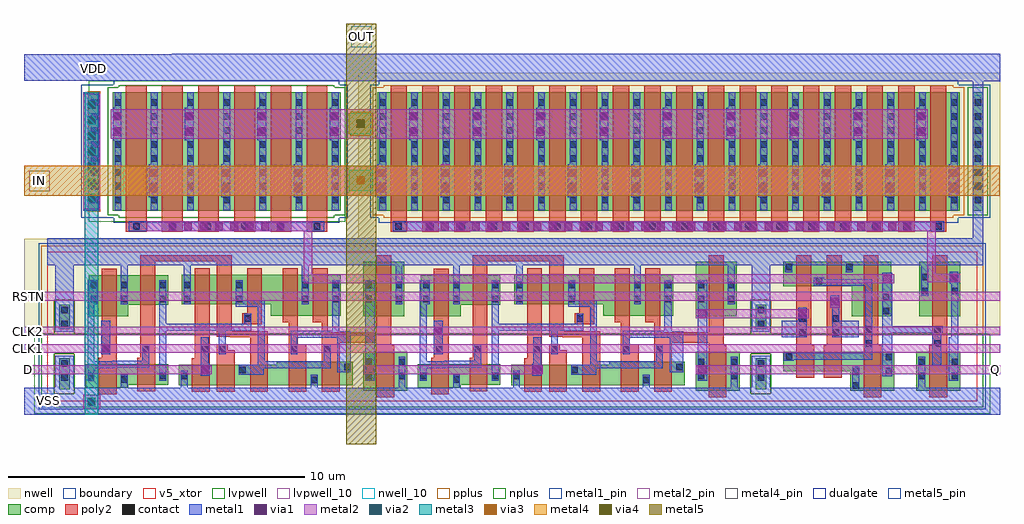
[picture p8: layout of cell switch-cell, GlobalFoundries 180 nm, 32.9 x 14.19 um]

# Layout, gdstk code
from math import pi, radians
import gdstk
lib = gdstk.Library(unit=1e-6, precision=1e-09)
def R(c, l, rs):  # rectangles x0, y0, x1, y1
    for r in rs: c.add(gdstk.rectangle(r[:2], r[2:], *l))
def A(c, l, x, y, w, h, nx, ny, dx, dy):  # array of equal rectangles
    R(c, l, [(x+i*dx, y+j*dy, x+i*dx+w, y+j*dy+h) for i in range(nx) for j in range(ny)])
def P(c, l, *ps):  # polygons
    for p in ps: c.add(gdstk.Polygon(p, *l))
boundary = (0, 0)
nwell = (21, 0)
nwell_10 = (21, 10)
comp = (22, 0)
poly2 = (30, 0)
pplus = (31, 0)
nplus = (32, 0)
contact = (33, 0)
metal1 = (34, 0)
metal1_pin = (34, 10)
via1 = (35, 0)
metal2 = (36, 0)
metal2_pin = (36, 10)
via2 = (38, 0)
via3 = (40, 0)
via4 = (41, 0)
metal3 = (42, 0)
metal4 = (46, 0)
metal4_pin = (46, 10)
dualgate = (55, 0)
metal5 = (81, 0)
metal5_pin = (81, 10)
v5_xtor = (112, 1)
lvpwell = (204, 0)
lvpwell_10 = (204, 10)

pfet_06v0_ljss4l = lib.new_cell('pfet_06v0_LJSS4L')
R(pfet_06v0_ljss4l, nwell, [(-10.24,-2.65,10.24,2.65)])
R(pfet_06v0_ljss4l, comp, [(-9.81,-2,9.81,2)])
A(pfet_06v0_ljss4l, poly2, -9.37, -2.22, 0.55, 4.44, 18, 1, 1.07, 0)
R(pfet_06v0_ljss4l, pplus, [(-9.6,-2.23,9.6,-2.16), (-9.97,-2.16,9.97,2.16), (-9.6,2.16,9.6,2.23)])
A(pfet_06v0_ljss4l, contact, -9.74, -1.755, 0.22, 0.22, 19, 8, 1.07, 0.47)
A(pfet_06v0_ljss4l, metal1, -9.745, -1.99, 0.23, 3.98, 19, 1, 1.07, 0)
R(pfet_06v0_ljss4l, dualgate, [(-9.77,-2.4,9.77,-2.24), (-10.05,-2.24,10.05,2.24), (-9.77,2.24,9.77,2.4)])

nfet_06v0_42fnxl = lib.new_cell('nfet_06v0_42FNXL')
R(nfet_06v0_42fnxl, comp, [(-3.84,-2,3.84,2)])
A(nfet_06v0_42fnxl, poly2, -3.4, -2.22, 0.7, 4.44, 6, 1, 1.22, 0)
R(nfet_06v0_42fnxl, nplus, [(-3.63,-2.23,3.63,-2.16), (-4,-2.16,4,2.16), (-3.63,2.16,3.63,2.23)])
A(nfet_06v0_42fnxl, contact, -3.77, -1.755, 0.22, 0.22, 7, 8, 1.22, 0.47)
A(nfet_06v0_42fnxl, metal1, -3.775, -1.99, 0.23, 3.98, 7, 1, 1.22, 0)
R(nfet_06v0_42fnxl, dualgate, [(-3.8,-2.4,3.8,-2.24), (-4.08,-2.24,4.08,2.24), (-3.8,2.24,3.8,2.4)])
R(nfet_06v0_42fnxl, lvpwell, [(-4,-2.38,4,2.38)])

trans_gate = lib.new_cell('trans-gate')
A(trans_gate, nwell, -4.655, 14.71, 0.55, 0.29, 13, 1, 1.07, 0)
R(trans_gate, nwell, [(-7.2,9.7,-6.595,15), (8.8,9.7,14.1,15)])
R(trans_gate, nwell_10, [(-6.905,10.46,-6.675,10.69)])
R(trans_gate, comp, [(-6.965,10.35,-6.605,14.35), (22.835,10.35,23.195,14.35)])
A(trans_gate, poly2, 16.36, 14.35, 0.7, 0.71, 4, 1, 1.22, 0)
A(trans_gate, poly2, -5.725, 14.57, 0.55, 0.49, 18, 1, 1.07, 0)
R(trans_gate, poly2, [(15.14,14.57,15.84,15.06), (21.24,14.57,21.94,15.06)])
R(trans_gate, pplus, [(22.805,10.32,23.225,14.38)])
R(trans_gate, nplus, [(-7.125,10.19,-6.445,14.51)])
A(trans_gate, contact, -6.895, 10.595, 0.22, 0.22, 1, 8, 0, 0.47)
A(trans_gate, contact, 22.905, 10.595, 0.22, 0.22, 1, 8, 0, 0.47)
A(trans_gate, contact, -5.56, 14.77, 0.22, 0.22, 18, 1, 1.07, 0)
A(trans_gate, contact, 15.39, 14.77, 0.22, 0.22, 5, 1, 1.22, 0)
R(trans_gate, contact, [(21.47,14.77,21.69,14.99)])
A(trans_gate, metal1, -5.03, 10.875, 0.3, 1.1, 9, 1, 2.14, 0)
A(trans_gate, metal1, 14.765, 10.875, 0.3, 1.1, 4, 1, 2.44, 0)
A(trans_gate, metal1, -6.1, 12.78, 0.3, 1.11, 7, 1, 2.14, 0)
A(trans_gate, metal1, 15.985, 12.78, 0.3, 1.11, 3, 1, 2.44, 0)
A(trans_gate, metal1, -5.03, 13.83, 0.23, 0.06, 8, 1, 2.14, 0)
R(trans_gate, metal1, [(-6.965,10.35,-6.605,14.35), (22.835,10.35,23.195,14.35), (8.88,12.77,9.18,13.89), (11.02,12.78,11.32,13.89), (13.16,12.78,13.46,13.89), (-5.655,14.71,12.945,15.05), (15.245,14.71,21.835,15.05)])
A(trans_gate, via1, -5.01, 11.035, 0.26, 0.26, 9, 2, 2.14, 0.52)
A(trans_gate, via1, 14.785, 11.035, 0.26, 0.26, 4, 2, 2.44, 0.52)
A(trans_gate, via1, -6.08, 12.945, 0.26, 0.26, 10, 2, 2.14, 0.52)
A(trans_gate, via1, 16.005, 12.945, 0.26, 0.26, 3, 2, 2.44, 0.52)
A(trans_gate, via1, -4.545, 14.75, 0.26, 0.26, 32, 1, 0.52, 0)
A(trans_gate, via1, 16.59, 14.75, 0.26, 0.26, 8, 1, 0.52, 0)
R(trans_gate, metal2, [(-5.09,10.925,22.445,11.925), (11.02,12.78,11.32,12.83), (-6.16,12.83,21.225,13.84), (-5.175,14.71,12.465,15.05), (15.84,14.71,21.24,15.05)])
R(trans_gate, metal2_pin, [(7.57,11.06,7.8,11.29), (7.69,13.435,7.92,13.665), (-0.22,14.765,0.01,14.995), (17.33,14.765,17.56,14.995)])
R(trans_gate, dualgate, [(-7.205,10.11,-6.365,14.59), (22.595,10.11,23.435,14.59)])
A(trans_gate, lvpwell, 16.36, 14.71, 0.7, 0.02, 5, 1, 1.22, 0)
R(trans_gate, lvpwell, [(22.54,9.97,23.195,14.73)])
R(trans_gate, lvpwell_10, [(22.88,10.445,23.11,10.675)])
trans_gate.add(gdstk.Reference(pfet_06v0_ljss4l, (3.645,12.35)))
trans_gate.add(gdstk.Reference(nfet_06v0_42fnxl, (18.54,12.35)))
trans_gate.add(gdstk.Label('SWP', (-0.105,14.88), layer=34, texttype=10))
trans_gate.add(gdstk.Label('VDD', (-6.79,10.575), layer=21, texttype=10))
trans_gate.add(gdstk.Label('VSS', (22.995,10.56), layer=204, texttype=10))
trans_gate.add(gdstk.Label('IN', (7.805,13.55), layer=36, texttype=10))
trans_gate.add(gdstk.Label('OUT', (7.685,11.175), layer=36, texttype=10))
trans_gate.add(gdstk.Label('SWN', (17.445,14.88), layer=36, texttype=10))

gf180mcu_fd_sc_mcu9t5v0_ = lib.new_cell('gf180mcu_fd_sc_mcu9t5v0__latq_1')
R(gf180mcu_fd_sc_mcu9t5v0_, boundary, [(0,0,11.2,5.04)])
R(gf180mcu_fd_sc_mcu9t5v0_, nwell, [(-0.43,2.265,11.63,5.47)])
R(gf180mcu_fd_sc_mcu9t5v0_, comp, [(9.54,0.345,11.02,1.665), (9.54,2.865,10.92,4.695)])
P(gf180mcu_fd_sc_mcu9t5v0_, comp, [(0.18,0.46),(0.18,1.25),(2.96,1.25),(2.96,0.55),(1.62,0.55),(1.62,0.46)],
  [(0.28,2.865),(0.28,4.245),(2.96,4.245),(2.96,3.245),(1.62,3.245),(1.62,2.865)],
  [(6.42,2.88),(6.42,3.26),(3.42,3.26),(3.42,4.26),(8.78,4.26),(8.78,2.88)],
  [(3.32,0.535),(3.32,1.235),(6.62,1.235),(6.62,1.325),(9.18,1.325),(9.18,0.535)])
P(gf180mcu_fd_sc_mcu9t5v0_, poly2, [(0.62,0.24),(0.62,1.47),(0.72,1.47),(0.72,4.465),(1.22,4.465),(1.22,0.24)],
  [(3.76,0.315),(3.76,1.455),(3.86,1.455),(3.86,4.48),(4.36,4.48),(4.36,0.315)],
  [(4.6,0.315),(4.6,1.925),(4.96,1.925),(4.96,1.715),(5.2,1.715),(5.2,0.315)],
  [(5.46,2.6),(5.46,2.96),(5.62,2.96),(5.62,4.48),(6.12,4.48),(6.12,3.04),(6.115,3.04),(6.115,2.6)],
  [(5.72,0.315),(5.72,2.16),(5.055,2.16),(5.055,2.165),(4.6,2.165),(4.6,4.72),(2.52,4.72),(2.52,0.33),(1.92,0.33),(1.92,1.47),(2.02,1.47),(2.02,4.92),(5.1,4.92),(5.1,2.36),(6.32,2.36),(6.32,0.315)],
  [(7.02,0.315),(7.02,2.66),(6.82,2.66),(6.82,4.48),(7.32,4.48),(7.32,1.925),(7.62,1.925),(7.62,0.315)],
  [(9.98,0.125),(9.98,1.965),(8.74,1.965),(8.74,0.315),(8.14,0.315),(8.14,2.66),(7.84,2.66),(7.84,4.48),(8.34,4.48),(8.34,2.325),(9.98,2.325),(9.98,4.915),(10.48,4.915),(10.48,1.885),(10.58,1.885),(10.58,0.125)])
R(gf180mcu_fd_sc_mcu9t5v0_, pplus, [(-0.2,2.265,11.4,5.24)])
R(gf180mcu_fd_sc_mcu9t5v0_, nplus, [(-0.2,-0.2,11.4,2.265)])
R(gf180mcu_fd_sc_mcu9t5v0_, contact, [(7.77,0.605,7.99,0.825), (1.37,0.615,1.59,0.835), (0.25,0.74,0.47,0.96), (2.67,0.74,2.89,0.96), (3.39,0.74,3.61,0.96), (9.61,0.74,9.83,0.96), (10.73,0.74,10.95,0.96), (5.35,0.945,5.57,1.165), (8.89,1.035,9.11,1.255), (9.61,1.21,9.83,1.43), (10.73,1.21,10.95,1.43), (0.79,1.635,1.01,1.855), (2.09,1.635,2.31,1.855), (4.07,1.635,4.29,1.855), (4.67,1.635,4.89,1.855), (7.09,1.635,7.31,1.855), (8.21,1.635,8.43,1.855), (5.53,2.67,5.75,2.89), (0.35,3.33,0.57,3.55), (1.37,3.33,1.59,3.55), (2.67,3.33,2.89,3.55), (3.49,3.33,3.71,3.55), (5.25,3.33,5.47,3.55), (7.47,3.33,7.69,3.55), (8.49,3.33,8.71,3.55), (9.61,3.33,9.83,3.55), (10.63,3.33,10.85,3.55), (0.35,3.8,0.57,4.02), (1.37,3.8,1.59,4.02), (2.67,3.8,2.89,4.02), (3.49,3.8,3.71,4.02), (5.25,3.8,5.47,4.02), (7.47,3.8,7.69,4.02), (8.49,3.8,8.71,4.02), (9.61,3.8,9.83,4.02), (10.63,3.8,10.85,4.02)])
R(gf180mcu_fd_sc_mcu9t5v0_, metal1, [(9.605,0.68,9.93,4.08), (4.065,1.21,4.33,2.15), (0.71,1.575,1.015,2.71)])
P(gf180mcu_fd_sc_mcu9t5v0_, metal1, [(0.245,0.68),(0.245,4.08),(0.575,4.08),(0.575,3.27),(0.475,3.27),(0.475,1.345),(1.085,1.345),(1.085,1.355),(2.085,1.355),(2.085,1.915),(2.315,1.915),(2.315,1.125),(1.155,1.125),(1.155,1.115),(0.475,1.115),(0.475,0.68)],
  [(2.665,0.68),(2.665,4.08),(2.895,4.08),(2.895,2.61),(5.525,2.61),(5.525,2.95),(5.755,2.95),(5.755,2.38),(4.895,2.38),(4.895,1.575),(4.665,1.575),(4.665,2.38),(2.895,2.38),(2.895,0.68)],
  [(5.345,0.885),(5.345,1.225),(5.985,1.225),(5.985,3.18),(5.245,3.18),(5.245,4.08),(5.475,4.08),(5.475,3.41),(6.215,3.41),(6.215,1.345),(8.205,1.345),(8.205,1.915),(8.435,1.915),(8.435,1.115),(6.19,1.115),(6.19,0.885)],
  [(8.665,0.975),(8.665,2.145),(7.315,2.145),(7.315,1.575),(7.085,1.575),(7.085,2.375),(8.485,2.375),(8.485,4.08),(8.735,4.08),(8.735,2.365),(9.115,2.365),(9.115,0.975)],
  [(0,-0.45),(0,0.45),(1.365,0.45),(1.365,0.895),(1.595,0.895),(1.595,0.45),(3.385,0.45),(3.385,1.02),(3.615,1.02),(3.615,0.45),(7.765,0.45),(7.765,0.885),(7.995,0.885),(7.995,0.45),(10.725,0.45),(10.725,1.49),(10.955,1.49),(10.955,0.45),(11.2,0.45),(11.2,-0.45)],
  [(1.365,3.27),(1.365,4.59),(0,4.59),(0,5.49),(11.2,5.49),(11.2,4.59),(10.855,4.59),(10.855,3.27),(10.625,3.27),(10.625,4.59),(7.695,4.59),(7.695,3.27),(7.465,3.27),(7.465,4.59),(3.715,4.59),(3.715,3.27),(3.485,3.27),(3.485,4.59),(1.595,4.59),(1.595,3.27)])
R(gf180mcu_fd_sc_mcu9t5v0_, dualgate, [(-0.28,-0.28,11.48,5.32)])
R(gf180mcu_fd_sc_mcu9t5v0_, v5_xtor, [(0,0,11.2,5.04)])
R(gf180mcu_fd_sc_mcu9t5v0_, lvpwell, [(-0.43,-0.43,11.63,2.265)])
gf180mcu_fd_sc_mcu9t5v0_.add(gdstk.Label('D', (4.2,1.4), layer=34, texttype=10))
gf180mcu_fd_sc_mcu9t5v0_.add(gdstk.Label('E', (0.84,1.96), layer=34, texttype=10))
gf180mcu_fd_sc_mcu9t5v0_.add(gdstk.Label('Q', (9.8,2.52), layer=34, texttype=10))
gf180mcu_fd_sc_mcu9t5v0_.add(gdstk.Label('VDD', (5.6,5.49), layer=34, texttype=10))
gf180mcu_fd_sc_mcu9t5v0_.add(gdstk.Label('VSS', (5.6,-0.45), layer=34, texttype=10))
gf180mcu_fd_sc_mcu9t5v0_.add(gdstk.Label('& Vendor GLOBALFOUNDRIES', (0,2), layer=63, texttype=63))
gf180mcu_fd_sc_mcu9t5v0_.add(gdstk.Label('& Product GF018hv5v_green_sc9', (0,1.5), layer=63, texttype=63))
gf180mcu_fd_sc_mcu9t5v0_.add(gdstk.Label('& Version 2015q2v2', (0,1), layer=63, texttype=63))
gf180mcu_fd_sc_mcu9t5v0_.add(gdstk.Label('& Metric 1.00', (0,0.5), layer=63, texttype=63))
gf180mcu_fd_sc_mcu9t5v0_.add(gdstk.Label('VNW', (0.345,3.92), layer=21, texttype=10))
gf180mcu_fd_sc_mcu9t5v0_.add(gdstk.Label('VPW', (0.34,-0.085), layer=204, texttype=10))

c_gf180mcu_fd_sc_mcu9t5v0_ = lib.new_cell('gf180mcu_fd_sc_mcu9t5v0__inv_1')
R(c_gf180mcu_fd_sc_mcu9t5v0_, boundary, [(0,0,2.24,5.04)])
R(c_gf180mcu_fd_sc_mcu9t5v0_, nwell, [(-0.43,2.265,2.67,5.47)])
R(c_gf180mcu_fd_sc_mcu9t5v0_, comp, [(0.18,0.345,1.66,1.665), (0.28,2.865,1.66,4.695)])
P(c_gf180mcu_fd_sc_mcu9t5v0_, poly2, [(0.62,0.125),(0.62,1.885),(0.72,1.885),(0.72,4.915),(1.22,4.915),(1.22,0.125)])
R(c_gf180mcu_fd_sc_mcu9t5v0_, pplus, [(-0.2,2.265,2.44,5.24)])
R(c_gf180mcu_fd_sc_mcu9t5v0_, nplus, [(-0.2,-0.2,2.44,2.265)])
R(c_gf180mcu_fd_sc_mcu9t5v0_, contact, [(0.25,0.74,0.47,0.96), (1.37,0.74,1.59,0.96), (0.25,1.21,0.47,1.43), (1.37,1.21,1.59,1.43), (0.79,1.835,1.01,2.055), (0.79,2.305,1.01,2.525), (0.35,3.61,0.57,3.83), (1.37,3.61,1.59,3.83), (0.35,4.08,0.57,4.3), (1.37,4.08,1.59,4.3)])
P(c_gf180mcu_fd_sc_mcu9t5v0_, metal1, [(0.71,1.21),(0.71,2.53),(1.07,2.53),(1.07,2.3),(1.015,2.3),(1.015,1.21)],
  [(1.27,0.68),(1.27,2.15),(1.365,2.15),(1.365,4.36),(1.595,4.36),(1.595,0.68)],
  [(0,-0.45),(0,0.45),(0.245,0.45),(0.245,1.49),(0.475,1.49),(0.475,0.45),(2.24,0.45),(2.24,-0.45)],
  [(0.345,3.55),(0.345,4.59),(0,4.59),(0,5.49),(2.24,5.49),(2.24,4.59),(0.575,4.59),(0.575,3.55)])
R(c_gf180mcu_fd_sc_mcu9t5v0_, dualgate, [(-0.28,-0.28,2.52,5.32)])
R(c_gf180mcu_fd_sc_mcu9t5v0_, v5_xtor, [(0,0,2.24,5.04)])
R(c_gf180mcu_fd_sc_mcu9t5v0_, lvpwell, [(-0.43,-0.43,2.67,2.265)])
c_gf180mcu_fd_sc_mcu9t5v0_.add(gdstk.Label('I', (0.84,1.96), layer=34, texttype=10))
c_gf180mcu_fd_sc_mcu9t5v0_.add(gdstk.Label('VDD', (1.12,5.49), layer=34, texttype=10))
c_gf180mcu_fd_sc_mcu9t5v0_.add(gdstk.Label('VSS', (1.12,-0.45), layer=34, texttype=10))
c_gf180mcu_fd_sc_mcu9t5v0_.add(gdstk.Label('ZN', (1.4,1.96), layer=34, texttype=10))
c_gf180mcu_fd_sc_mcu9t5v0_.add(gdstk.Label('& Vendor GLOBALFOUNDRIES', (0,2), layer=63, texttype=63))
c_gf180mcu_fd_sc_mcu9t5v0_.add(gdstk.Label('& Product GF018hv5v_green_sc9', (0,1.5), layer=63, texttype=63))
c_gf180mcu_fd_sc_mcu9t5v0_.add(gdstk.Label('& Version 2015q2v2', (0,1), layer=63, texttype=63))
c_gf180mcu_fd_sc_mcu9t5v0_.add(gdstk.Label('& Metric 1.00', (0,0.5), layer=63, texttype=63))
c_gf180mcu_fd_sc_mcu9t5v0_.add(gdstk.Label('VNW', (0.345,3.92), layer=21, texttype=10))
c_gf180mcu_fd_sc_mcu9t5v0_.add(gdstk.Label('VPW', (0.34,-0.085), layer=204, texttype=10))

c_gf180mcu_fd_sc_mcu9t5v0__ = lib.new_cell('gf180mcu_fd_sc_mcu9t5v0__endcap')
R(c_gf180mcu_fd_sc_mcu9t5v0__, boundary, [(0,0,1.12,5.04)])
R(c_gf180mcu_fd_sc_mcu9t5v0__, nwell, [(-2.93,2.265,1.55,5.47)])
R(c_gf180mcu_fd_sc_mcu9t5v0__, comp, [(0.36,0.41,0.72,1.445), (0.36,2.425,0.72,3.255)])
R(c_gf180mcu_fd_sc_mcu9t5v0__, pplus, [(0.2,0.25,0.88,1.605)])
P(c_gf180mcu_fd_sc_mcu9t5v0__, pplus, [(-0.2,2.265),(-0.2,5.24),(1.32,5.24),(1.32,2.265),(0.88,2.265),(0.88,3.415),(0.2,3.415),(0.2,2.265)])
P(c_gf180mcu_fd_sc_mcu9t5v0__, nplus, [(-0.2,-0.2),(-0.2,2.265),(0.2,2.265),(0.2,3.415),(0.88,3.415),(0.88,1.605),(0.2,1.605),(0.2,0.25),(0.88,0.25),(0.88,3.415),(0.88,2.265),(1.32,2.265),(1.32,-0.2)])
R(c_gf180mcu_fd_sc_mcu9t5v0__, contact, [(0.43,0.685,0.65,0.905), (0.43,1.155,0.65,1.375), (0.43,2.495,0.65,2.715), (0.43,2.965,0.65,3.185)])
P(c_gf180mcu_fd_sc_mcu9t5v0__, metal1, [(0,-0.45),(0,0.45),(0.23,0.45),(0.23,1.53),(0.85,1.53),(0.85,0.45),(1.12,0.45),(1.12,-0.45)],
  [(0.23,2.34),(0.23,4.59),(0,4.59),(0,5.49),(1.12,5.49),(1.12,4.59),(0.85,4.59),(0.85,2.34)])
R(c_gf180mcu_fd_sc_mcu9t5v0__, dualgate, [(-0.28,-0.28,1.4,5.32)])
R(c_gf180mcu_fd_sc_mcu9t5v0__, v5_xtor, [(0,0,1.12,5.04)])
R(c_gf180mcu_fd_sc_mcu9t5v0__, lvpwell, [(-2.93,-0.43,1.55,2.265)])
c_gf180mcu_fd_sc_mcu9t5v0__.add(gdstk.Label('VSS', (0.56,-0.45), layer=34, texttype=10))
c_gf180mcu_fd_sc_mcu9t5v0__.add(gdstk.Label('VDD', (0.56,5.49), layer=34, texttype=10))
c_gf180mcu_fd_sc_mcu9t5v0__.add(gdstk.Label('& Vendor GLOBALFOUNDRIES', (0,2), layer=63, texttype=63))
c_gf180mcu_fd_sc_mcu9t5v0__.add(gdstk.Label('& Product GF018hv5v_green_sc9', (0,1.5), layer=63, texttype=63))
c_gf180mcu_fd_sc_mcu9t5v0__.add(gdstk.Label('& Version 2015q2v2', (0,1), layer=63, texttype=63))
c_gf180mcu_fd_sc_mcu9t5v0__.add(gdstk.Label('& Metric 1.00', (0,0.5), layer=63, texttype=63))

c_gf180mcu_fd_sc_mcu9t5v0___ = lib.new_cell('gf180mcu_fd_sc_mcu9t5v0__and2_1')
R(c_gf180mcu_fd_sc_mcu9t5v0___, boundary, [(0,0,4.48,5.04)])
R(c_gf180mcu_fd_sc_mcu9t5v0___, nwell, [(-0.43,2.265,4.91,5.47)])
P(c_gf180mcu_fd_sc_mcu9t5v0___, comp, [(2.48,2.865),(2.48,3.875),(0.18,3.875),(0.18,4.695),(3.82,4.695),(3.82,2.865)],
  [(2.44,0.345),(2.44,1.005),(0.18,1.005),(0.18,1.665),(3.92,1.665),(3.92,0.345)])
P(c_gf180mcu_fd_sc_mcu9t5v0___, poly2, [(0.62,0.785),(0.62,4.915),(1.12,4.915),(1.12,1.885),(1.22,1.885),(1.22,0.785)],
  [(1.54,0.785),(1.54,1.885),(1.64,1.885),(1.64,4.915),(2.14,4.915),(2.14,0.785)],
  [(2.88,0.125),(2.88,4.915),(3.38,4.915),(3.38,1.885),(3.48,1.885),(3.48,0.125)])
R(c_gf180mcu_fd_sc_mcu9t5v0___, pplus, [(-0.2,2.265,4.68,5.24)])
R(c_gf180mcu_fd_sc_mcu9t5v0___, nplus, [(-0.2,-0.2,4.68,2.265)])
R(c_gf180mcu_fd_sc_mcu9t5v0___, contact, [(2.51,0.415,2.73,0.635), (2.51,0.885,2.73,1.105), (3.63,0.905,3.85,1.125), (0.25,1.375,0.47,1.595), (3.63,1.375,3.85,1.595), (2.95,1.835,3.17,2.055), (0.715,2.21,0.935,2.43), (1.835,2.21,2.055,2.43), (2.95,2.305,3.17,2.525), (0.715,2.68,0.935,2.9), (1.835,2.68,2.055,2.9), (3.53,2.935,3.75,3.155), (3.53,3.405,3.75,3.625), (1.27,3.945,1.49,4.165), (0.25,4.405,0.47,4.625), (2.29,4.405,2.51,4.625)])
R(c_gf180mcu_fd_sc_mcu9t5v0___, metal1, [(3.51,0.845,3.855,3.685)])
P(c_gf180mcu_fd_sc_mcu9t5v0___, metal1, [(0.115,2.15),(0.115,2.71),(0.71,2.71),(0.71,2.96),(0.97,2.96),(0.97,2.15)],
  [(1.83,2.15),(1.83,2.96),(2.06,2.96),(2.06,2.71),(2.715,2.71),(2.715,2.15)],
  [(0.19,1.37),(0.19,1.625),(2.945,1.625),(2.945,3.885),(1.21,3.885),(1.21,4.17),(1.55,4.17),(1.55,4.115),(3.175,4.115),(3.175,1.395),(0.53,1.395),(0.53,1.37)],
  [(0,-0.45),(0,0.45),(2.505,0.45),(2.505,1.165),(2.735,1.165),(2.735,0.45),(4.48,0.45),(4.48,-0.45)],
  [(0.245,4.345),(0.245,4.59),(0,4.59),(0,5.49),(4.48,5.49),(4.48,4.59),(2.515,4.59),(2.515,4.345),(2.285,4.345),(2.285,4.59),(0.475,4.59),(0.475,4.345)])
R(c_gf180mcu_fd_sc_mcu9t5v0___, dualgate, [(-0.28,-0.28,4.76,5.32)])
R(c_gf180mcu_fd_sc_mcu9t5v0___, v5_xtor, [(0,0,4.48,5.04)])
R(c_gf180mcu_fd_sc_mcu9t5v0___, lvpwell, [(-0.43,-0.43,4.91,2.265)])
c_gf180mcu_fd_sc_mcu9t5v0___.add(gdstk.Label('A1', (0.84,2.52), layer=34, texttype=10))
c_gf180mcu_fd_sc_mcu9t5v0___.add(gdstk.Label('A2', (1.96,2.52), layer=34, texttype=10))
c_gf180mcu_fd_sc_mcu9t5v0___.add(gdstk.Label('VDD', (0.36,4.59), layer=34, texttype=10))
c_gf180mcu_fd_sc_mcu9t5v0___.add(gdstk.Label('VSS', (2.62,0.45), layer=34, texttype=10))
c_gf180mcu_fd_sc_mcu9t5v0___.add(gdstk.Label('Z', (3.64,2.52), layer=34, texttype=10))
c_gf180mcu_fd_sc_mcu9t5v0___.add(gdstk.Label('& Vendor GLOBALFOUNDRIES', (0,2), layer=63, texttype=63))
c_gf180mcu_fd_sc_mcu9t5v0___.add(gdstk.Label('& Product GF018hv5v_green_sc9', (0,1.5), layer=63, texttype=63))
c_gf180mcu_fd_sc_mcu9t5v0___.add(gdstk.Label('& Version 2015q2v2', (0,1), layer=63, texttype=63))
c_gf180mcu_fd_sc_mcu9t5v0___.add(gdstk.Label('& Metric 1.00', (0,0.5), layer=63, texttype=63))
c_gf180mcu_fd_sc_mcu9t5v0___.add(gdstk.Label('VNW', (0.345,3.92), layer=21, texttype=10))
c_gf180mcu_fd_sc_mcu9t5v0___.add(gdstk.Label('VPW', (0.34,-0.085), layer=204, texttype=10))

switch_cell = lib.new_cell('switch-cell')
R(switch_cell, nwell, [(-2.8,2.665,-2.45,5.87), (29.77,2.665,30.1,5.83), (8.47,5.83,30.1,6.215), (29.77,6.215,30.1,11.47)])
R(switch_cell, pplus, [(10.18,3.105,10.42,4.805)])
R(switch_cell, nplus, [(10.28,0.7,10.32,1.81)])
R(switch_cell, metal1, [(-2.8,-0.05,-1.12,0.85), (28.345,-0.05,30.1,0.85), (-0.75,0.15,-0.29,0.61), (3.165,1.265,3.465,1.66), (14.335,1.265,14.63,1.66), (8.705,1.325,9.03,1.6), (19.905,1.325,20.23,1.6), (-0.19,2.035,0.115,2.31), (11.01,2.625,11.315,2.9), (26.13,2.7,28.17,2.93), (23.295,3.11,23.59,3.545), (19.905,3.21,20.23,3.485), (24.45,3.36,24.68,3.55), (24.385,3.55,24.68,3.965), (26.13,4.085,26.475,4.725), (28.4,4.355,28.695,4.76), (29.175,4.99,29.535,6.89), (-0.8,6.82,-0.34,6.885), (-0.8,6.885,-0.29,10.755), (-0.8,10.755,-0.34,10.82), (29.175,10.79,29.535,11.185), (2.19,11.185,30.1,11.2), (-2.8,11.2,30.1,12.1), (2.19,12.1,30.1,12.115)])
R(switch_cell, metal1_pin, [(-2.19,0.195,-1.73,0.655), (-0.685,11.4,-0.225,11.86)])
A(switch_cell, via1, -0.645, 7.13, 0.26, 0.26, 1, 7, 0, 0.52)
R(switch_cell, via1, [(-0.65,0.25,-0.39,0.51), (3.185,1.33,3.445,1.59), (8.735,1.33,8.995,1.59), (14.35,1.33,14.61,1.59), (19.935,1.33,20.195,1.59), (-0.17,2.04,0.09,2.3), (11.03,2.63,11.29,2.89), (19.935,3.215,20.195,3.475), (23.31,3.215,23.57,3.475), (24.4,3.625,24.66,3.885), (26.17,4.395,26.43,4.655), (28.415,4.42,28.675,4.68)])
R(switch_cell, metal2, [(-0.81,0.14,-0.23,0.62), (-2.8,1.315,3.525,1.61), (8.645,1.315,14.69,1.61), (19.845,1.315,30.1,1.61), (-2.8,2.025,30.1,2.32), (-2.8,2.615,30.1,2.91), (19.845,3.2,23.65,3.495), (24.375,3.55,24.69,3.79), (-2.8,3.79,30.1,4.085), (6.63,4.38,26.535,4.675), (27.64,4.405,28.755,4.7), (6.63,4.675,6.925,6.46), (27.64,4.7,27.935,6.46), (-0.8,6.875,-0.225,10.765), (8.2,7.45,8.9,8.25), (8.2,9.35,8.9,10.15)])
R(switch_cell, metal2_pin, [(-2.8,1.315,-2.505,1.61), (29.805,1.315,30.1,1.61), (-2.8,2.025,-2.505,2.32), (-2.8,2.615,-2.505,2.91), (-2.8,3.79,-2.505,4.085)])
A(switch_cell, via2, -0.65, 7.13, 0.26, 0.26, 1, 7, 0, 0.52)
R(switch_cell, via2, [(-0.65,0.25,-0.39,0.51), (8.42,7.72,8.68,7.98), (8.42,9.62,8.68,9.88)])
R(switch_cell, via3, [(8.42,7.72,8.68,7.98), (8.42,9.62,8.68,9.88)])
R(switch_cell, via4, [(8.42,9.62,8.68,9.88)])
R(switch_cell, metal3, [(-0.75,-0.05,-0.29,10.805), (8.15,7.5,8.95,8.2), (8.15,9.4,8.95,10.1)])
R(switch_cell, metal4, [(-2.8,7.33,30.095,8.34), (8.2,9.35,8.9,9.4), (8.15,9.4,8.95,10.1), (8.2,10.1,8.9,10.15)])
R(switch_cell, metal4_pin, [(-2.625,7.475,-1.925,8.175)])
R(switch_cell, dualgate, [(10.36,0.505,10.52,0.62), (26.78,0.505,27.04,2.305), (-1.02,0.57,-0.68,0.62), (21.56,0.57,21.62,2.085), (-1.02,0.62,-0.96,1.89), (22.46,1.005,22.84,1.165), (22.46,1.165,22.56,2.085), (-1.02,1.89,-0.68,2.05), (10.36,1.89,10.52,2.05), (21.28,2.305,21.56,2.465), (22.56,2.305,22.84,2.465), (-1.02,3.025,-0.86,3.895), (10.26,3.025,10.34,4.885), (21.46,3.025,21.62,3.895), (22.46,3.875,22.84,3.895), (22.56,3.895,22.84,4.035), (10.26,4.885,10.62,5.045)])
R(switch_cell, metal5, [(8.07,-1.06,9.08,13.13)])
R(switch_cell, metal5_pin, [(8.225,12.335,8.925,13.035)])
switch_cell.add(gdstk.Reference(trans_gate, (22.57,21.17), rotation=pi))
switch_cell.add(gdstk.Reference(gf180mcu_fd_sc_mcu9t5v0_, (10.3,0.4)))
switch_cell.add(gdstk.Reference(gf180mcu_fd_sc_mcu9t5v0_, (-0.9,0.4)))
switch_cell.add(gdstk.Reference(c_gf180mcu_fd_sc_mcu9t5v0_, (27.1,0.4)))
switch_cell.add(gdstk.Reference(c_gf180mcu_fd_sc_mcu9t5v0__, (21.5,0.4)))
switch_cell.add(gdstk.Reference(c_gf180mcu_fd_sc_mcu9t5v0__, (-0.9,0.4), rotation=pi, x_reflection=True))
switch_cell.add(gdstk.Reference(c_gf180mcu_fd_sc_mcu9t5v0___, (22.62,0.4)))
switch_cell.add(gdstk.Label('VDD', (-0.455,11.63), layer=34, texttype=10))
switch_cell.add(gdstk.Label('VSS', (-1.96,0.425), layer=34, texttype=10))
switch_cell.add(gdstk.Label('RSTN', (-2.652,3.937), layer=36, texttype=10))
switch_cell.add(gdstk.Label('CLK1', (-2.652,2.172), layer=36, texttype=10))
switch_cell.add(gdstk.Label('CLK2', (-2.652,2.762), layer=36, texttype=10))
switch_cell.add(gdstk.Label('D', (-2.652,1.462), layer=36, texttype=10))
switch_cell.add(gdstk.Label('Q', (29.952,1.462), layer=36, texttype=10))
switch_cell.add(gdstk.Label('OUT', (8.575,12.685), layer=81, texttype=10))
switch_cell.add(gdstk.Label('IN', (-2.275,7.825), layer=46, texttype=10))

lib.write_gds('switch-cell.gds')
